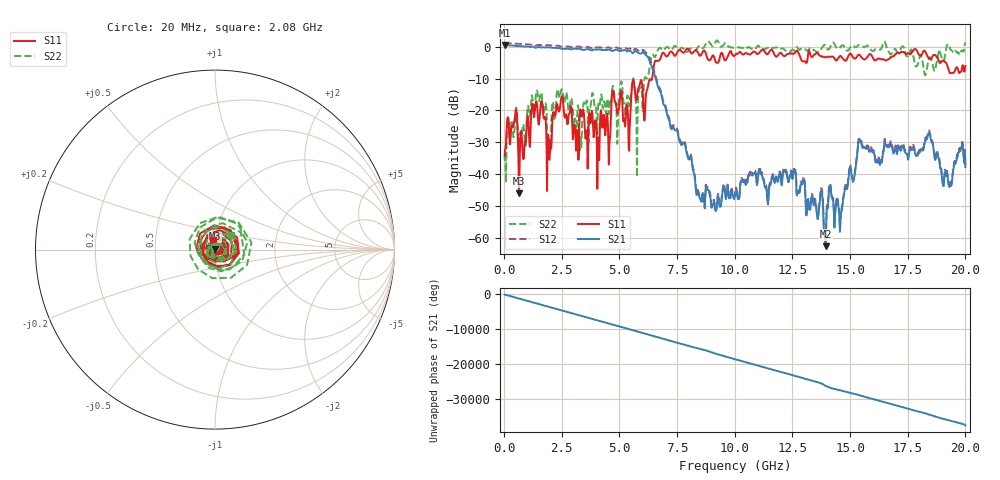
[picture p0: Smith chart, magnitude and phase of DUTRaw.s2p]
! File created by SignalIntegrity v1.1.10: Signal and Power Integrity Tools
! https://github.com/TeledyneLeCroy/SignalIntegrity
# MHz S MA R 50.0
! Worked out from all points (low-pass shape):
!   1000 points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, 20 MHz to 20 GHz, reference 50 ohm
!   highest |S21| = 0.56 dB at 20 MHz (marker M1); lowest = -62.6 dB at 13.94 GHz (marker M2)
!   |S21| within 3 dB of the highest: start of sweep to 6.121 GHz
!   lowest |S11| = -46.0 dB at 640 MHz (marker M3), VSWR 1.01, Z = 49.9 + j0.494 ohm
!   |S11| at or under -10 dB: start of sweep to 6.413 GHz
!   |S22| runs from -42.6 to 2.0 dB; largest |S21 - S12| = 0.09
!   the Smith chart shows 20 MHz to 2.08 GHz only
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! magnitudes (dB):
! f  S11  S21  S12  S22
! 20 MHz  -34.2  0.6  1.3  -35.7
! 460 MHz  -22.6  0.3  1.0  -25.1
! 640 MHz  -46.0  0.2  0.9  -32.2
! 1.5 GHz  -24.4  -0.1  0.6  -16.8
! 1.96 GHz  -35.5  -0.2  0.5  -31.5
! 2.4 GHz  -19.9  -0.5  0.2  -16.0
! 3.14 GHz  -31.6  -0.7  0.0  -29.7
! 3.36 GHz  -21.8  -0.9  -0.2  -29.5
! 4.04 GHz  -44.6  -0.9  -0.2  -27.4
! 4.76 GHz  -15.3  -1.2  -0.4  -13.9
! 5.34 GHz  -18.7  -1.5  -0.8  -15.3
! 6.68 GHz  -4.4  -12.8  -12.1  -0.8
! 8.44 GHz  -2.4  -46.5  -45.8  0.2
! 10.02 GHz  -2.6  -46.3  -45.6  -0.3
! 12.54 GHz  -2.2  -39.9  -39.2  -1.0
! 13.34 GHz  -3.2  -46.9  -46.1  -0.5
! 13.94 GHz  -3.3  -62.6  -61.9  0.2
! 15.42 GHz  -2.6  -29.6  -28.9  0.4
! 16.68 GHz  -3.9  -31.5  -30.8  -1.7
! 18.44 GHz  -3.8  -27.2  -26.5  -3.4
! 19.32 GHz  -8.2  -43.1  -42.4  -0.3
! 20 GHz  -6.0  -37.8  -37.1  0.8
